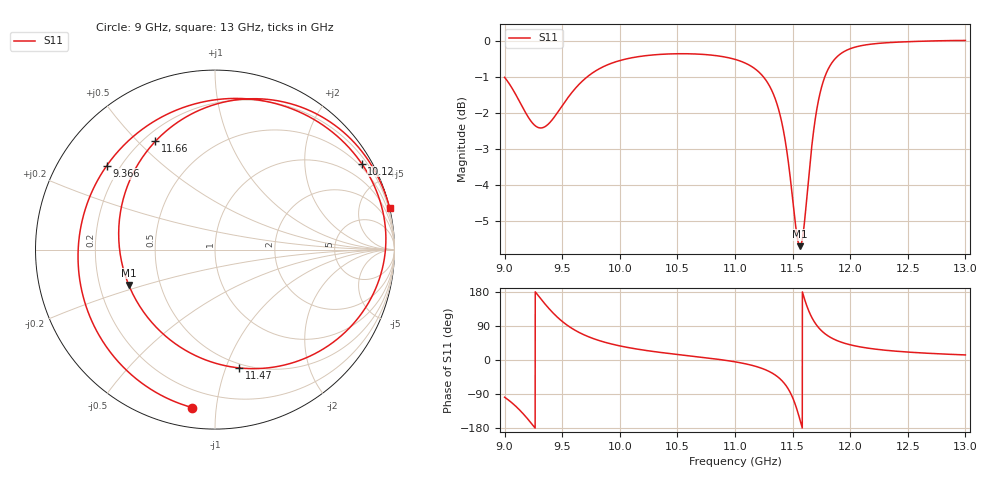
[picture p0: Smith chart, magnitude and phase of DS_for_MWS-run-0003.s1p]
! TOUCHSTONE file generated by CST DESIGN STUDIO
! Date and time: Tue Feb  4 14:18:23 2025
! Project name: C:\Work\MatlabApps\UnitCellOptimizationMatlab\CST\unitcell.cst
! Tree item: Tasks\Sweep1\SPara1\S-Parameters
! Header version: 2024
! Port assignment regex: !\s*Touchstone port\s*([0-9]+)\s*=\s*(CST MWS port|CST DES external port|CST DES block port)\s*(.+)\s* \(\"(.*)\"\)(\s*mode\s*([0-9]+))?.*
! Touchstone port assignment:
! Touchstone port 1 = CST DES external port 1 ("")
# GHz S MA R 50
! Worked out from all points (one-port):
!   4001 points, 9 GHz to 13 GHz, reference 50 ohm
!   lowest |S11| = -5.7 dB at 11.56 GHz (marker M1), VSWR 3.16, Z = 16.4 - j8.81 ohm
!   |S11| at or under -10 dB: nowhere
!   S11 on the Smith chart (normalised r, x): 9 GHz: 0.10, -0.86; 9.366 GHz: 0.15, +0.33; 10.12 GHz: 0.39, +3.64; 11.47 GHz: 0.46, -1.12; 11.66 GHz: 0.25, +0.56; 13 GHz: -0.01, +8.54
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9  0.8893 -98.2
9.106  0.8367 -124.7
9.214  0.7795 -160.5
9.287  0.7585 171.8
9.366  0.763 142.4
9.432  0.7839 120.6
9.5  0.8125 101.9
9.596  0.852 81.3
9.725  0.8928 61.8
10  0.9381 37.2
10.118  0.9474 30.4
10.5  0.9587 14.6
11  0.9417 -4.8
11.18  0.9122 -16.8
11.302  0.8638 -31.1
11.391  0.7892 -49.7
11.466  0.6734 -78.3
11.5  0.6046 -99.0
11.531  0.5471 -124.3
11.564  0.5195 -157.8
11.607  0.5687 157.5
11.656  0.6887 118.8
11.719  0.8179 87.8
11.808  0.9125 63.5
11.892  0.9516 50.4
12  0.9742 40.1
12.5  0.9962 20.9
13  1 13.4
